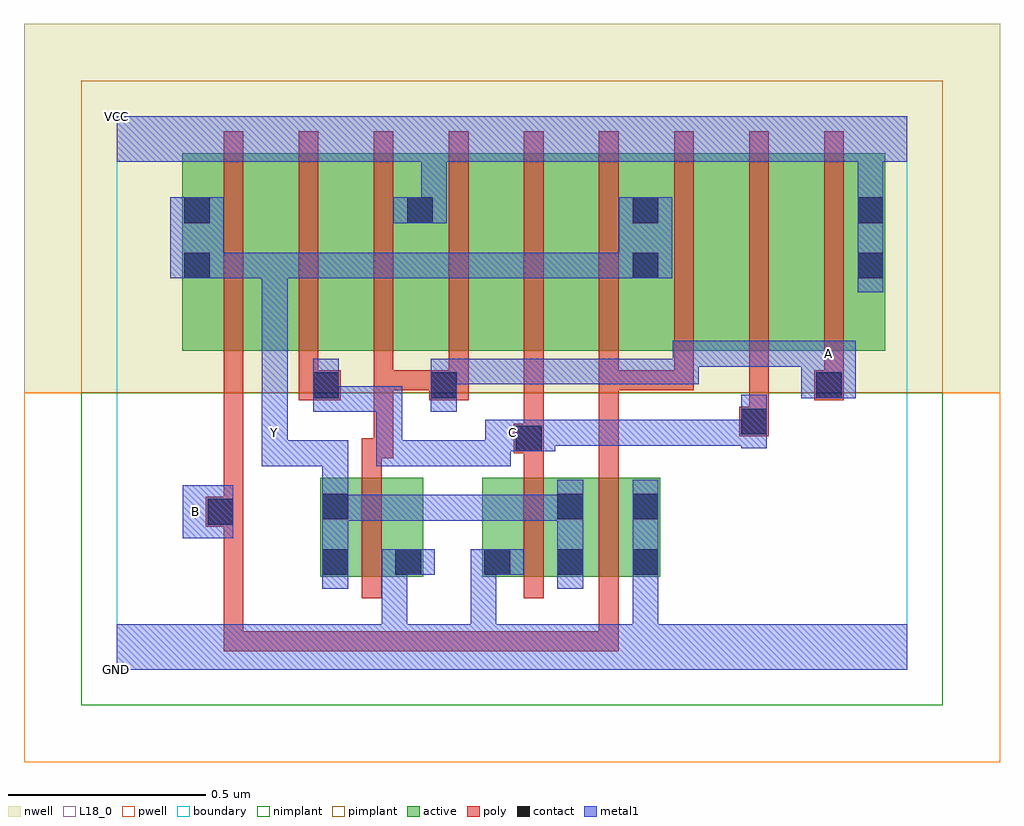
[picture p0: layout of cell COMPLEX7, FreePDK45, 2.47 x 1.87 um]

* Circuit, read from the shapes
.subckt COMPLEX7 A B C GND VCC Y
M1 GND A Y VSUBS nfet w=0.25u l=0.05u
M2 Y C GND VSUBS nfet w=0.25u l=0.05u
M3 GND B Y VSUBS nfet w=0.25u l=0.05u
M4 n1 B Y n2 pfet w=0.5u l=0.05u
M5 n3 C n1 n2 pfet w=0.5u l=0.05u
M6 VCC A n3 n2 pfet w=0.5u l=0.05u
M7 n4 A VCC n2 pfet w=0.5u l=0.05u
M8 n5 C n4 n2 pfet w=0.5u l=0.05u
M9 Y B n5 n2 pfet w=0.5u l=0.05u
M10 n6 B Y n2 pfet w=0.5u l=0.05u
M11 n7 C n6 n2 pfet w=0.5u l=0.05u
M12 VCC A n7 n2 pfet w=0.5u l=0.05u
.ends

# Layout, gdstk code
import gdstk
lib = gdstk.Library(unit=1e-6, precision=1e-09)
def R(c, l, rs):  # rectangles x0, y0, x1, y1
    for r in rs: c.add(gdstk.rectangle(r[:2], r[2:], *l))
def A(c, l, x, y, w, h, nx, ny, dx, dy):  # array of equal rectangles
    R(c, l, [(x+i*dx, y+j*dy, x+i*dx+w, y+j*dy+h) for i in range(nx) for j in range(ny)])
active = (1, 0)
pwell = (2, 0)
nwell = (3, 0)
nimplant = (4, 0)
pimplant = (5, 0)
poly = (9, 0)
contact = (10, 0)
metal1 = (11, 0)
L18_0 = (18, 0)
boundary = (235, 0)

complex7 = lib.new_cell('COMPLEX7')
A(complex7, active, 0.39, 0.807, 0.19, 0.5, 3, 1, 0.57, 0)
A(complex7, active, 0.58, 0.807, 0.225, 0.5, 3, 1, 0.57, 0)
R(complex7, active, [(0.515,0.235,0.59,0.485), (0.515,0.235,0.775,0.485), (0.7,0.235,0.775,0.485), (0.925,0.235,1.185,0.485), (0.925,0.235,1,0.467), (1.11,0.235,1.375,0.485), (1.11,0.235,1.185,0.45), (1.3,0.235,1.375,0.485), (0.165,0.807,0.39,1.307), (0.165,0.807,0.27,1.2), (0.73,0.807,0.805,1.255), (0.73,0.807,0.96,1.307), (1.3,0.807,1.53,1.307), (1.3,0.807,1.375,1.2), (1.87,0.807,1.945,1.255)])
R(complex7, pwell, [(-0.235,-0.235,2.235,0.7)])
R(complex7, nwell, [(-0.235,0.7,2.235,1.635)])
R(complex7, nimplant, [(-0.09,-0.09,2.09,0.7)])
R(complex7, pimplant, [(-0.09,0.7,2.09,1.49)])
A(complex7, poly, 0.46, 0.707, 0.05, 0.095, 3, 1, 0.19, 0)
A(complex7, poly, 0.27, 0.752, 0.05, 0.61, 9, 1, 0.19, 0)
R(complex7, poly, [(0.27,0.047,0.32,0.097), (0.27,0.047,0.32,0.097), (0.27,0.047,0.32,0.097), (0.27,0.047,0.32,0.097), (0.27,0.047,0.32,0.097), (0.27,0.047,0.32,0.097), (0.27,0.047,0.32,0.097), (0.27,0.047,0.32,0.097), (0.27,0.047,0.32,0.097), (0.27,0.047,0.537,0.097), (0.27,0.047,0.32,0.412), (0.487,0.047,0.537,0.097), (0.487,0.047,0.537,0.097), (0.487,0.047,0.537,0.097), (0.487,0.047,0.707,0.097), (0.657,0.047,0.707,0.097), (0.657,0.047,0.707,0.097), (0.657,0.047,0.707,0.097), (0.657,0.047,0.89,0.097), (0.84,0.047,0.89,0.097), (0.84,0.047,0.89,0.097), (0.84,0.047,0.89,0.097), (0.84,0.047,1.022,0.097), (0.972,0.047,1.022,0.097), (0.972,0.047,1.022,0.097), (0.972,0.047,1.022,0.097), (0.972,0.047,1.27,0.097), (1.22,0.047,1.27,0.097), (1.22,0.047,1.27,0.23), (0.62,0.18,0.67,0.54), (1.03,0.18,1.08,0.54), (1.22,0.18,1.27,0.54), (0.225,0.362,0.32,0.437), (0.27,0.387,0.32,0.802), (0.62,0.49,0.67,0.585), (1.03,0.49,1.08,0.597), (1.22,0.49,1.27,0.757), (0.62,0.535,0.7,0.585), (0.65,0.535,0.7,0.757), (1.005,0.547,1.08,0.622), (1.03,0.572,1.08,0.622), (1.03,0.572,1.08,0.622), (1.03,0.572,1.08,0.802), (1.575,0.59,1.65,0.665), (1.6,0.615,1.65,0.802), (1.6,0.615,1.65,0.665), (1.6,0.615,1.65,0.665), (0.46,0.682,0.567,0.757), (0.79,0.682,0.89,0.757), (1.765,0.682,1.84,0.757), (0.65,0.707,0.7,0.757), (0.65,0.707,0.7,0.757), (0.65,0.707,0.7,0.757), (0.65,0.707,0.84,0.757), (1.22,0.707,1.27,0.802), (1.22,0.707,1.27,0.757), (1.22,0.707,1.27,0.757), (1.22,0.707,1.27,0.757), (1.22,0.707,1.46,0.757), (1.41,0.707,1.46,0.802), (1.41,0.707,1.46,0.757), (1.41,0.707,1.46,0.757), (1.41,0.707,1.46,0.757), (1.79,0.707,1.84,0.802)])
A(complex7, contact, 0.735, 1.13, 0.065, 0.065, 3, 1, 0.57, 0)
R(complex7, contact, [(0.52,0.24,0.585,0.305), (0.705,0.24,0.77,0.305), (0.93,0.24,0.995,0.305), (1.115,0.24,1.18,0.305), (1.305,0.24,1.37,0.305), (0.23,0.367,0.295,0.432), (0.52,0.38,0.585,0.445), (1.115,0.38,1.18,0.445), (1.305,0.38,1.37,0.445), (1.01,0.552,1.075,0.617), (1.58,0.595,1.645,0.66), (0.497,0.687,0.562,0.752), (0.795,0.687,0.86,0.752), (1.77,0.687,1.835,0.752), (0.17,0.99,0.235,1.055), (1.305,0.99,1.37,1.055), (1.875,0.99,1.94,1.055), (0.17,1.13,0.235,1.195)])
R(complex7, metal1, [(0,0,2,0.115), (0.67,0.05,0.735,0.305), (0.895,0.05,0.96,0.115), (0.895,0.05,0.96,0.115), (0.895,0.05,0.96,0.115), (0.895,0.05,0.96,0.115), (0.895,0.05,0.96,0.305), (1.305,0.05,1.37,0.115), (1.305,0.05,1.37,0.115), (1.305,0.05,1.37,0.115), (1.305,0.05,1.37,0.115), (1.305,0.05,1.37,0.27), (0.52,0.205,0.585,0.48), (1.115,0.205,1.18,0.48), (1.305,0.205,1.37,0.48), (0.67,0.24,0.735,0.305), (0.67,0.24,0.735,0.305), (0.67,0.24,0.735,0.305), (0.67,0.24,0.735,0.305), (0.67,0.24,0.805,0.305), (0.895,0.24,1.03,0.305), (0.167,0.332,0.295,0.467), (0.52,0.377,0.722,0.442), (0.657,0.377,0.722,0.442), (0.657,0.377,0.722,0.442), (0.657,0.377,0.722,0.442), (0.657,0.377,0.86,0.442), (0.795,0.377,0.86,0.442), (0.795,0.377,0.86,0.442), (0.795,0.377,0.86,0.442), (0.795,0.377,1.18,0.442), (1.115,0.377,1.18,0.442), (1.115,0.377,1.18,0.442), (0.52,0.415,0.585,0.58), (0.367,0.515,0.432,0.58), (0.367,0.515,0.432,0.58), (0.367,0.515,0.585,0.58), (0.367,0.515,0.432,0.667), (0.52,0.515,0.585,0.58), (0.52,0.515,0.585,0.58), (0.52,0.515,0.585,0.58), (0.657,0.515,0.722,0.58), (0.657,0.515,0.86,0.58), (0.657,0.515,0.722,0.717), (0.795,0.515,0.86,0.58), (0.795,0.515,0.997,0.58), (0.932,0.515,0.997,0.617), (0.932,0.552,0.997,0.617), (0.932,0.552,1.11,0.632), (1.58,0.56,1.645,0.695), (1.045,0.567,1.135,0.632), (1.07,0.567,1.135,0.632), (1.07,0.567,1.335,0.632), (1.27,0.567,1.335,0.632), (1.27,0.567,1.335,0.632), (1.27,0.567,1.335,0.632), (1.27,0.567,1.472,0.632), (1.407,0.567,1.472,0.632), (1.407,0.567,1.645,0.632), (1.58,0.567,1.645,0.632), (1.58,0.567,1.645,0.632), (0.367,0.602,0.432,1.055), (0.497,0.652,0.562,0.787), (0.497,0.652,0.57,0.717), (0.505,0.652,0.57,0.717), (0.505,0.652,0.722,0.717), (0.657,0.652,0.722,0.717), (0.657,0.652,0.722,0.717), (0.657,0.652,0.722,0.717), (0.795,0.652,0.86,0.787), (1.732,0.687,1.87,0.832), (0.795,0.722,0.86,0.787), (0.795,0.722,0.86,0.787), (0.795,0.722,1.197,0.787), (1.132,0.722,1.197,0.787), (1.132,0.722,1.197,0.787), (1.132,0.722,1.197,0.787), (1.132,0.722,1.335,0.787), (1.27,0.722,1.335,0.787), (1.27,0.722,1.335,0.787), (1.27,0.722,1.335,0.787), (1.27,0.722,1.472,0.787), (1.407,0.722,1.472,0.832), (1.407,0.767,1.61,0.832), (1.545,0.767,1.61,0.832), (1.545,0.767,1.61,0.832), (1.545,0.767,1.61,0.832), (1.545,0.767,1.797,0.832), (1.732,0.767,1.797,0.832), (1.732,0.767,1.797,0.832), (1.875,0.955,1.94,1.23), (0.135,0.99,0.27,1.195), (0.205,0.99,0.27,1.055), (0.205,0.99,0.27,1.055), (0.205,0.99,0.432,1.055), (0.367,0.99,0.432,1.055), (0.367,0.99,0.57,1.055), (0.505,0.99,0.57,1.055), (0.505,0.99,0.57,1.055), (0.505,0.99,0.57,1.055), (0.505,0.99,0.722,1.055), (0.657,0.99,0.722,1.055), (0.657,0.99,0.722,1.055), (0.657,0.99,0.722,1.055), (0.657,0.99,0.86,1.055), (0.795,0.99,0.86,1.055), (0.795,0.99,0.86,1.055), (0.795,0.99,0.86,1.055), (0.795,0.99,1.135,1.055), (1.07,0.99,1.135,1.055), (1.07,0.99,1.135,1.055), (1.07,0.99,1.135,1.055), (1.07,0.99,1.335,1.055), (1.27,0.99,1.335,1.055), (1.27,0.99,1.335,1.055), (1.27,0.99,1.405,1.195), (0.7,1.13,0.835,1.195), (0.77,1.13,0.835,1.35), (1.875,1.165,1.94,1.35), (0,1.285,2,1.4)])
R(complex7, L18_0, [(0,0,2,0.115), (0.67,0.05,0.735,0.305), (0.895,0.05,0.96,0.115), (0.895,0.05,0.96,0.115), (0.895,0.05,0.96,0.115), (0.895,0.05,0.96,0.115), (0.895,0.05,0.96,0.305), (1.305,0.05,1.37,0.115), (1.305,0.05,1.37,0.115), (1.305,0.05,1.37,0.115), (1.305,0.05,1.37,0.115), (1.305,0.05,1.37,0.27), (0.52,0.205,0.585,0.48), (1.115,0.205,1.18,0.48), (1.305,0.205,1.37,0.48), (0.67,0.24,0.735,0.305), (0.67,0.24,0.735,0.305), (0.67,0.24,0.735,0.305), (0.67,0.24,0.735,0.305), (0.67,0.24,0.805,0.305), (0.895,0.24,1.03,0.305), (0.167,0.332,0.295,0.467), (0.167,0.367,0.232,0.432), (0.52,0.377,0.722,0.442), (0.657,0.377,0.722,0.442), (0.657,0.377,0.722,0.442), (0.657,0.377,0.722,0.442), (0.657,0.377,0.86,0.442), (0.795,0.377,0.86,0.442), (0.795,0.377,0.86,0.442), (0.795,0.377,0.86,0.442), (0.795,0.377,1.18,0.442), (1.115,0.377,1.18,0.442), (1.115,0.377,1.18,0.442), (0.52,0.415,0.585,0.58), (0.367,0.515,0.432,0.58), (0.367,0.515,0.432,0.58), (0.367,0.515,0.432,0.667), (0.367,0.515,0.585,0.58), (0.52,0.515,0.585,0.58), (0.52,0.515,0.585,0.58), (0.52,0.515,0.585,0.58), (0.657,0.515,0.722,0.58), (0.657,0.515,0.86,0.58), (0.657,0.515,0.722,0.717), (0.795,0.515,0.86,0.58), (0.795,0.515,0.997,0.58), (0.932,0.515,0.997,0.617), (0.932,0.552,0.997,0.617), (0.932,0.552,1.11,0.632), (1.58,0.56,1.645,0.695), (0.367,0.567,0.432,0.632), (0.967,0.567,1.032,0.632), (1.045,0.567,1.135,0.632), (1.07,0.567,1.135,0.632), (1.07,0.567,1.335,0.632), (1.27,0.567,1.335,0.632), (1.27,0.567,1.335,0.632), (1.27,0.567,1.335,0.632), (1.27,0.567,1.472,0.632), (1.407,0.567,1.472,0.632), (1.407,0.567,1.645,0.632), (1.58,0.567,1.645,0.632), (1.58,0.567,1.645,0.632), (0.367,0.602,0.432,1.055), (0.497,0.652,0.562,0.787), (0.497,0.652,0.57,0.717), (0.505,0.652,0.57,0.717), (0.505,0.652,0.722,0.717), (0.657,0.652,0.722,0.717), (0.657,0.652,0.722,0.717), (0.657,0.652,0.722,0.717), (0.795,0.652,0.86,0.787), (1.732,0.687,1.87,0.832), (0.795,0.722,0.86,0.787), (0.795,0.722,0.86,0.787), (0.795,0.722,1.197,0.787), (1.132,0.722,1.197,0.787), (1.132,0.722,1.197,0.787), (1.132,0.722,1.197,0.787), (1.132,0.722,1.335,0.787), (1.27,0.722,1.335,0.787), (1.27,0.722,1.335,0.787), (1.27,0.722,1.335,0.787), (1.27,0.722,1.472,0.787), (1.407,0.722,1.472,0.832), (1.407,0.767,1.61,0.832), (1.545,0.767,1.61,0.832), (1.545,0.767,1.61,0.832), (1.545,0.767,1.61,0.832), (1.545,0.767,1.797,0.832), (1.732,0.767,1.797,0.832), (1.732,0.767,1.797,0.832), (1.767,0.767,1.832,0.832), (1.875,0.955,1.94,1.23), (0.135,0.99,0.27,1.195), (0.205,0.99,0.27,1.055), (0.205,0.99,0.27,1.055), (0.205,0.99,0.432,1.055), (0.367,0.99,0.432,1.055), (0.367,0.99,0.57,1.055), (0.505,0.99,0.57,1.055), (0.505,0.99,0.57,1.055), (0.505,0.99,0.57,1.055), (0.505,0.99,0.722,1.055), (0.657,0.99,0.722,1.055), (0.657,0.99,0.722,1.055), (0.657,0.99,0.722,1.055), (0.657,0.99,0.86,1.055), (0.795,0.99,0.86,1.055), (0.795,0.99,0.86,1.055), (0.795,0.99,0.86,1.055), (0.795,0.99,1.135,1.055), (1.07,0.99,1.135,1.055), (1.07,0.99,1.135,1.055), (1.07,0.99,1.135,1.055), (1.07,0.99,1.335,1.055), (1.27,0.99,1.405,1.195), (1.27,0.99,1.335,1.055), (1.27,0.99,1.335,1.055), (0.7,1.13,0.835,1.195), (0.77,1.13,0.835,1.35), (1.875,1.165,1.94,1.35), (0,1.285,2,1.4)])
R(complex7, boundary, [(0,0,2,1.4)])
complex7.add(gdstk.Label('A', (1.8,0.8), layer=11, texttype=0))
complex7.add(gdstk.Label('B', (0.2,0.4), layer=11, texttype=0))
complex7.add(gdstk.Label('C', (1,0.6), layer=11, texttype=0))
complex7.add(gdstk.Label('Y', (0.4,0.6), layer=11, texttype=0))
complex7.add(gdstk.Label('VCC', (0,1.4), layer=11, texttype=0))
complex7.add(gdstk.Label('GND', (0,0), layer=11, texttype=0))

lib.write_gds('COMPLEX7.gds')
